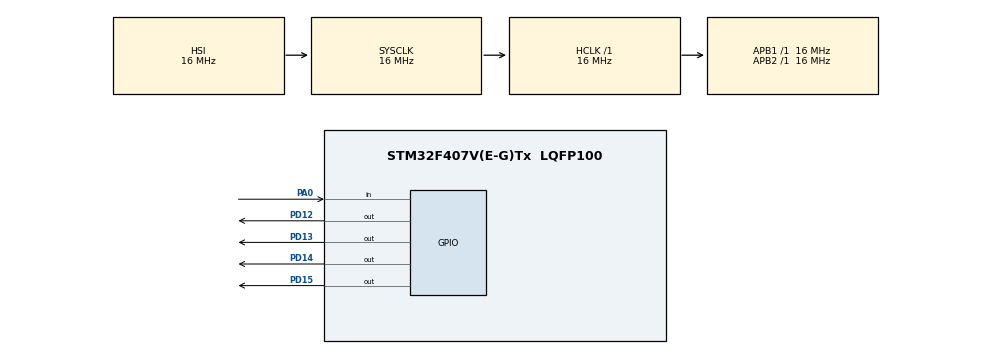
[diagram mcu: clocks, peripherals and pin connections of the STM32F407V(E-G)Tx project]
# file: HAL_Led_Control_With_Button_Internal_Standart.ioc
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FREERTOS.Tasks01=buttonTask,0,128,readButtonStateTask,Default,NULL,Dynamic,NULL,NULL;LedTask,-1,128,ledFlashTask,Default,NULL,Dynamic,NULL,NULL
Mcu.Family=STM32F4
Mcu.Name=STM32F407V(E-G)Tx
Mcu.Package=LQFP100
NVIC.PriorityGroup=NVIC_PRIORITYGROUP_4
PA0-WKUP.Signal=GPIO_Input
PD12.Signal=GPIO_Output
PD13.Signal=GPIO_Output
PD14.Signal=GPIO_Output
PD15.Signal=GPIO_Output
ProjectManager.HeapSize=0x200
ProjectManager.StackSize=0x400
ProjectManager.TargetToolchain=STM32CubeIDE
RCC.AHBFreq_Value=16000000
RCC.APB1Freq_Value=16000000
RCC.APB2Freq_Value=16000000
RCC.CortexFreq_Value=16000000
RCC.HSE_VALUE=25000000
RCC.HSI_VALUE=16000000
RCC.LSE_VALUE=32768
RCC.SYSCLKFreq_VALUE=16000000
RCC.VCOOutputFreq_Value=192000000
VP_FREERTOS_VS_CMSIS_V1.Mode=CMSIS_V1
board=custom

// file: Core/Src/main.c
/* USER CODE BEGIN Header */
/**
  ******************************************************************************
  * @file           : main.c
  * @brief          : Main program body
  ******************************************************************************
  * @attention
  *
  * Copyright (c) 2022 STMicroelectronics.
  * All rights reserved.
  *
  * This software is licensed under terms that can be found in the LICENSE file
  * in the root directory of this software component.
  * If no LICENSE file comes with this software, it is provided AS-IS.
  *
  ******************************************************************************
  */
/* USER CODE END Header */
#include "main.h"

/* USER CODE BEGIN Includes */
#include "FreeRTOS.h"
#include "task.h"
/* USER CODE END Includes */

/* USER CODE BEGIN PV */
TaskHandle_t myButtonTaskHandle;
TaskHandle_t myLedTaskHandle;
uint8_t buttonCount=0;

/* USER CODE END PV */

void SystemClock_Config(void);
static void MX_GPIO_Init(void);
void readButtonStateTask(void *params);
void ledFlashTask(void *params);

int main(void)
{

  /* MCU Configuration--------------------------------------------------------*/

  /* Reset of all peripherals, Initializes the Flash interface and the Systick. */
  HAL_Init();

  /* Configure the system clock */
  SystemClock_Config();

  /* Initialize all configured peripherals */
  MX_GPIO_Init();

  /* Create the thread(s) */
  /* definition and creation of buttonTask */
  xTaskCreate( readButtonStateTask, "Task of Button Control", 650,  NULL, 2, &myButtonTaskHandle);
  /* definition and creation of LedTask */
 xTaskCreate( ledFlashTask, "Task of Led Control", 650, NULL, 2, &myLedTaskHandle);

  /* Start scheduler */
  vTaskStartScheduler();

  /* We should never get here as control is now taken by the scheduler */
  /* Infinite loop */
  while (1)
  {

  }
}

void SystemClock_Config(void)
{
  RCC_OscInitTypeDef RCC_OscInitStruct = {0};
  RCC_ClkInitTypeDef RCC_ClkInitStruct = {0};

  /** Configure the main internal regulator output voltage
  */
  __HAL_RCC_PWR_CLK_ENABLE();
  __HAL_PWR_VOLTAGESCALING_CONFIG(PWR_REGULATOR_VOLTAGE_SCALE1);

  /** Initializes the RCC Oscillators according to the specified parameters
  * in the RCC_OscInitTypeDef structure.
  */
  RCC_OscInitStruct.OscillatorType = RCC_OSCILLATORTYPE_HSI;
  RCC_OscInitStruct.HSIState = RCC_HSI_ON;
  RCC_OscInitStruct.HSICalibrationValue = RCC_HSICALIBRATION_DEFAULT;
  RCC_OscInitStruct.PLL.PLLState = RCC_PLL_NONE;
  if (HAL_RCC_OscConfig(&RCC_OscInitStruct) != HAL_OK)
  {
    Error_Handler();
  }

  /** Initializes the CPU, AHB and APB buses clocks
  */
  RCC_ClkInitStruct.ClockType = RCC_CLOCKTYPE_HCLK|RCC_CLOCKTYPE_SYSCLK
                              |RCC_CLOCKTYPE_PCLK1|RCC_CLOCKTYPE_PCLK2;
  RCC_ClkInitStruct.SYSCLKSource = RCC_SYSCLKSOURCE_HSI;
  RCC_ClkInitStruct.AHBCLKDivider = RCC_SYSCLK_DIV1;
  RCC_ClkInitStruct.APB1CLKDivider = RCC_HCLK_DIV1;
  RCC_ClkInitStruct.APB2CLKDivider = RCC_HCLK_DIV1;

  if (HAL_RCC_ClockConfig(&RCC_ClkInitStruct, FLASH_LATENCY_0) != HAL_OK)
  {
    Error_Handler();
  }
}

static void MX_GPIO_Init(void)
{
  GPIO_InitTypeDef GPIO_InitStruct = {0};

  /* GPIO Ports Clock Enable */
  __HAL_RCC_GPIOA_CLK_ENABLE();
  __HAL_RCC_GPIOD_CLK_ENABLE();

  /*Configure GPIO pin Output Level */
  HAL_GPIO_WritePin(GPIOD, GPIO_PIN_12|GPIO_PIN_13|GPIO_PIN_14|GPIO_PIN_15, GPIO_PIN_RESET);

  /*Configure GPIO pin : PA0 */
  GPIO_InitStruct.Pin = GPIO_PIN_0;
  GPIO_InitStruct.Mode = GPIO_MODE_INPUT;
  GPIO_InitStruct.Pull = GPIO_NOPULL;
  HAL_GPIO_Init(GPIOA, &GPIO_InitStruct);

  /*Configure GPIO pins : PD12 PD13 PD14 PD15 */
  GPIO_InitStruct.Pin = GPIO_PIN_12|GPIO_PIN_13|GPIO_PIN_14|GPIO_PIN_15;
  GPIO_InitStruct.Mode = GPIO_MODE_OUTPUT_PP;
  GPIO_InitStruct.Pull = GPIO_NOPULL;
  GPIO_InitStruct.Speed = GPIO_SPEED_FREQ_LOW;
  HAL_GPIO_Init(GPIOD, &GPIO_InitStruct);

}

void readButtonStateTask(void *params)
{
  /* USER CODE BEGIN 5 */
  /* Infinite loop */
  for(;;)
  {
	  while (1)
	  	  {
	           if(HAL_GPIO_ReadPin(GPIOA, GPIO_PIN_0) == GPIO_PIN_SET)
	           {
	          	buttonCount++;
	           }
	           if (buttonCount == 5)
	                   	{
	                   		buttonCount =0;
	                   	}
	  	  }
  }
  /* USER CODE END 5 */
}

void ledFlashTask(void *params)
{
  /* USER CODE BEGIN ledFlashTask */
  /* Infinite loop */
  for(;;)
  {
    if ( buttonCount ==0 )
	              {
	      	     HAL_GPIO_WritePin(GPIOD, GPIO_PIN_12 | GPIO_PIN_13 | GPIO_PIN_14 | GPIO_PIN_15, GPIO_PIN_RESET);
	              }

	        else if(buttonCount == 1)
	              {
	      	     HAL_GPIO_TogglePin(GPIOD, GPIO_PIN_12 | GPIO_PIN_13 | GPIO_PIN_14 | GPIO_PIN_15);
	      	     vTaskDelay(1000);
	              }

	        else if(buttonCount == 2)
	              {
	      	  HAL_GPIO_TogglePin(GPIOD, GPIO_PIN_12 | GPIO_PIN_13 | GPIO_PIN_14 | GPIO_PIN_15);
	      	  	  vTaskDelay(750);
	              }

	        else if(buttonCount == 3)
	              {
	      	  HAL_GPIO_TogglePin(GPIOD, GPIO_PIN_12 | GPIO_PIN_13 | GPIO_PIN_14 | GPIO_PIN_15);
	      	  	  vTaskDelay(500);
	              }

	        else if(buttonCount == 4)
	              {
	      	      vTaskDelay(250);
	              }
  }
  /* USER CODE END ledFlashTask */
}

void Error_Handler(void)
{
    __disable_irq();
    while (1)
    {
    }
}
